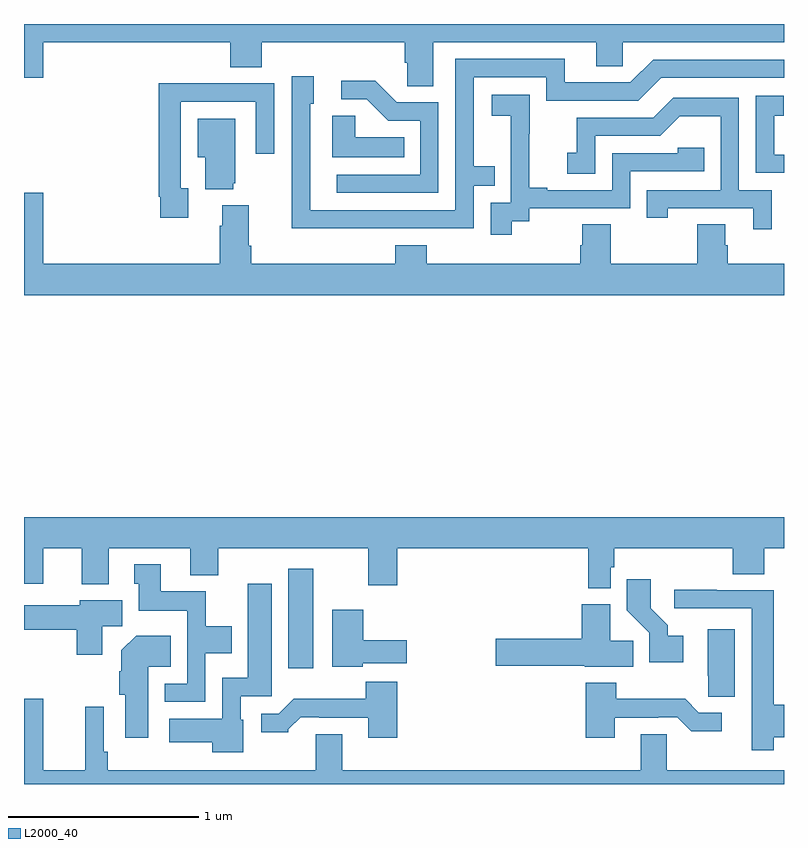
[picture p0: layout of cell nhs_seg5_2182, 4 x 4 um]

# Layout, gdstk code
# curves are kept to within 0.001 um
import gdstk
lib = gdstk.Library(unit=1e-6, precision=1e-09)
def R(c, l, rs):  # rectangles x0, y0, x1, y1
    for r in rs: c.add(gdstk.rectangle(r[:2], r[2:], *l))
def P(c, l, *ps):  # polygons
    for p in ps: c.add(gdstk.Polygon(p, *l))
L2000_40 = (2000, 40)

nhs_seg5_2182 = lib.new_cell('nhs_seg5_2182')
R(nhs_seg5_2182, L2000_40, [(238.391,909.408,238.522,909.931)])
P(nhs_seg5_2182, L2000_40, [(239.155,912.704),(240.011,912.704),(240.011,912.577),(240.15,912.577),(240.15,912.704),(241,912.704),(241,912.799),(237,912.799),(237,912.516),(237.1,912.516),(237.1,912.704),(238.085,912.704),(238.085,912.571),(238.25,912.571),(238.25,912.704),(239.003,912.704),(239.003,912.595),(239.016,912.595),(239.016,912.472),(239.155,912.472)],
  [(238.871,911.724),(239.367,911.724),(239.367,911.949),(239.477,911.949),(239.477,912.05),(239.367,912.05),(239.367,912.519),(239.748,912.519),(239.748,912.396),(240.234,912.396),(240.354,912.516),(241,912.516),(241,912.612),(240.312,912.612),(240.192,912.492),(239.845,912.492),(239.845,912.615),(239.271,912.615),(239.271,911.82),(238.506,911.82),(238.506,912.378),(238.525,912.378),(238.525,912.523),(238.41,912.523),(238.41,912.029),(238.408,912.029),(238.408,911.723)],
  [(239.181,912.387),(238.962,912.387),(238.849,912.5),(238.671,912.5),(238.671,912.402),(238.805,912.402),(238.916,912.291),(239.085,912.291),(239.085,912.006),(238.647,912.006),(238.647,911.91),(239.181,911.91)],
  [(237.865,911.934),(237.825,911.934),(237.825,912.39),(238.221,912.39),(238.221,912.117),(238.317,912.117),(238.317,912.486),(238.001,912.486),(238.001,912.488),(237.709,912.488),(237.709,911.89),(237.717,911.89),(237.717,911.778),(237.865,911.778)],
  [(239.566,911.761),(239.658,911.761),(239.658,911.829),(240.192,911.829),(240.192,912.024),(240.581,912.024),(240.581,912.147),(240.441,912.147),(240.441,912.12),(240.096,912.12),(240.096,911.925),(239.755,911.925),(239.755,911.938),(239.66,911.938),(239.66,912.221),(239.661,912.221),(239.661,912.427),(239.463,912.427),(239.463,912.317),(239.561,912.317),(239.561,912.089),(239.562,912.089),(239.562,911.859),(239.457,911.859),(239.457,911.691),(239.566,911.691)],
  [(241,912.111),(240.949,912.111),(240.949,912.315),(240.998,912.315),(240.998,912.421),(240.852,912.421),(240.852,912.015),(241,912.015)],
  [(240.936,911.925),(240.762,911.925),(240.762,912.411),(240.416,912.411),(240.311,912.306),(239.908,912.306),(239.908,912.121),(239.859,912.121),(239.859,912.012),(240.006,912.012),(240.006,912.21),(240.348,912.21),(240.452,912.314),(240.666,912.314),(240.666,911.925),(240.277,911.925),(240.277,911.778),(240.388,911.778),(240.388,911.829),(240.839,911.829),(240.839,911.718),(240.936,911.718)],
  [(239,912.202),(238.743,912.202),(238.743,912.317),(238.622,912.317),(238.622,912.098),(239,912.098)],
  [(238.1,911.961),(238.111,911.961),(238.111,912.301),(237.914,912.301),(237.914,912.098),(237.953,912.098),(237.953,911.93),(238.1,911.93)],
  [(241,911.536),(240.704,911.536),(240.704,911.634),(240.691,911.634),(240.691,911.744),(240.544,911.744),(240.544,911.536),(240.087,911.536),(240.087,911.744),(239.939,911.744),(239.939,911.634),(239.927,911.634),(239.927,911.536),(239.12,911.536),(239.12,911.635),(238.955,911.635),(238.955,911.536),(238.196,911.536),(238.196,911.632),(238.183,911.632),(238.183,911.845),(238.043,911.845),(238.043,911.738),(238.031,911.738),(238.031,911.536),(237.1,911.536),(237.1,911.911),(237,911.911),(237,911.372),(241,911.372)],
  [(240.087,909.939),(240.107,909.939),(240.107,910.04),(240.731,910.04),(240.731,909.904),(240.896,909.904),(240.896,910.04),(241,910.04),(241,910.204),(237,910.204),(237,909.852),(237.1,909.852),(237.1,910.04),(237.305,910.04),(237.305,909.851),(237.445,909.851),(237.445,910.04),(237.875,910.04),(237.875,909.899),(238.023,909.899),(238.023,910.04),(238.811,910.04),(238.811,909.846),(238.964,909.846),(238.964,910.04),(239.971,910.04),(239.971,909.83),(240.087,909.83)],
  [(237.954,909.488),(238.093,909.488),(238.093,909.628),(237.957,909.628),(237.957,909.814),(237.721,909.814),(237.721,909.955),(237.581,909.955),(237.581,909.852),(237.605,909.852),(237.605,909.71),(237.858,909.71),(237.858,909.327),(237.741,909.327),(237.741,909.231),(237.954,909.231)],
  [(240.469,909.58),(240.388,909.58),(240.388,909.635),(240.298,909.725),(240.298,909.877),(240.172,909.877),(240.172,909.714),(240.291,909.595),(240.291,909.44),(240.469,909.44)],
  [(238.153,909.138),(238.14,909.138),(238.14,909.261),(238.303,909.261),(238.303,909.853),(238.178,909.853),(238.178,909.358),(238.044,909.358),(238.044,909.142),(237.765,909.142),(237.765,909.02),(237.992,909.02),(237.992,908.966),(238.153,908.966)],
  [(240.947,909.044),(241,909.044),(241,909.215),(240.947,909.215),(240.947,909.819),(240.647,909.819),(240.647,909.822),(240.423,909.822),(240.423,909.723),(240.831,909.723),(240.831,909.198),(240.83,909.198),(240.83,908.976),(240.947,908.976)],
  [(237.412,909.628),(237.517,909.628),(237.517,909.766),(237.294,909.766),(237.294,909.739),(237,909.739),(237,909.61),(237.278,909.61),(237.278,909.48),(237.412,909.48)],
  [(240.206,909.554),(240.085,909.554),(240.085,909.745),(239.936,909.745),(239.936,909.564),(239.484,909.564),(239.484,909.422),(239.952,909.422),(239.952,909.416),(240.206,909.416)],
  [(238.782,909.434),(239.014,909.434),(239.014,909.556),(238.786,909.556),(238.786,909.715),(238.622,909.715),(238.622,909.416),(238.782,909.416)],
  [(240.742,909.613),(240.599,909.613),(240.599,909.37),(240.6,909.37),(240.6,909.259),(240.742,909.259)],
  [(237.655,909.416),(237.773,909.416),(237.773,909.58),(237.59,909.58),(237.512,909.502),(237.512,909.392),(237.5,909.392),(237.5,909.27),(237.533,909.27),(237.533,909.042),(237.655,909.042)],
  [(238.964,909.337),(238.799,909.337),(238.799,909.247),(238.42,909.247),(238.341,909.168),(238.248,909.168),(238.248,909.071),(238.392,909.071),(238.392,909.086),(238.456,909.15),(238.555,909.15),(238.555,909.147),(238.811,909.147),(238.811,909.042),(238.964,909.042)],
  [(240.109,909.147),(240.338,909.147),(240.338,909.15),(240.438,909.15),(240.511,909.077),(240.673,909.077),(240.673,909.174),(240.552,909.174),(240.479,909.247),(240.117,909.247),(240.117,909.331),(239.957,909.331),(239.957,909.042),(240.109,909.042)],
  [(241,908.872),(240.384,908.872),(240.384,909.062),(240.245,909.062),(240.245,908.872),(238.675,908.872),(238.675,909.062),(238.535,909.062),(238.535,908.872),(237.44,908.872),(237.44,908.968),(237.42,908.968),(237.42,909.205),(237.322,909.205),(237.322,908.872),(237.1,908.872),(237.1,909.247),(237,909.247),(237,908.799),(241,908.799)])

lib.write_gds('nhs_seg5_2182.gds')
